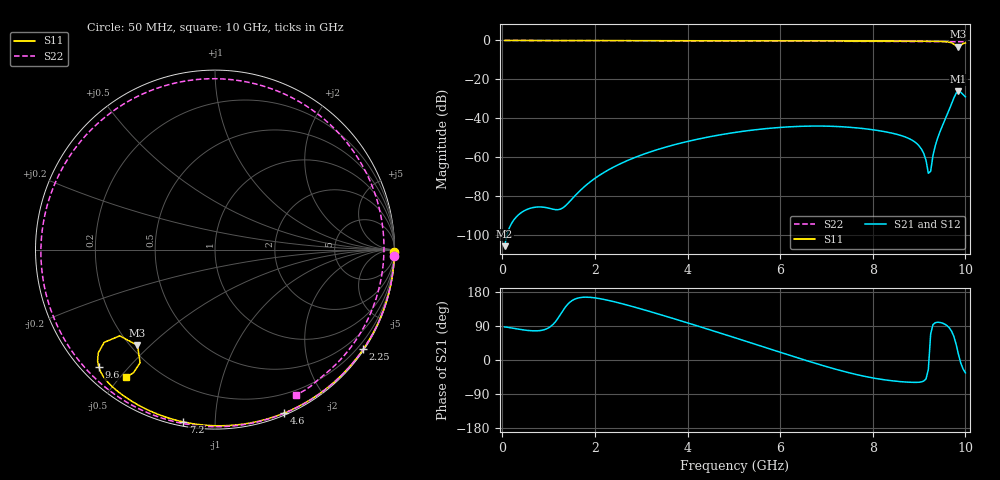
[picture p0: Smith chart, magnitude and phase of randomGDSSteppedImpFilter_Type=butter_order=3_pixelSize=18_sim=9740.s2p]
! freq	dB(S11)	phase(S11)	dB(S12)	phase(S12)
!  dB(S21)	phase(S21)	dB(S22)	phase(S22)
!S-par simulation data
#  GHz  S  DB  R 50
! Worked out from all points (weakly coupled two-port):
!   200 points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, 50 MHz to 10 GHz, reference 50 ohm
!   highest |S21| = -26.07 dB at 9.85 GHz (marker M1); lowest = -105.9 dB at 50 MHz (marker M2)
!   lowest |S11| = -3.3 dB at 9.85 GHz (marker M3), VSWR 5.37, Z = 11.3 - j22.8 ohm
!   |S11| at or under -10 dB: nowhere
!   |S22| runs from -0.7 to 0.0 dB; largest |S21 - S12| = 0
!   S11 on the Smith chart (normalised r, x): 50 MHz: open; 2.25 GHz: 0.03, -3.28; 4.6 GHz: 0.02, -1.51; 7.2 GHz: 0.02, -0.83; 9.6 GHz: 0.05, -0.42; 10 GHz: 0.09, -0.52
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0.05  -0.00 -0.8  -105.86 87.2  -105.86 87.2  -0.01 -1.9
1.55  -0.03 -23.5  -80.43 159.7  -80.43 159.7  -0.07 -57.9
1.75  -0.03 -26.5  -75.72 165.6  -75.72 165.6  -0.08 -65.3
2.25  -0.04 -33.9  -67.17 158.5  -67.17 158.5  -0.11 -83.4
3.4  -0.07 -50.4  -55.80 120.3  -55.80 120.3  -0.16 -124.9
4.6  -0.10 -67.0  -49.01 75.2  -49.01 75.2  -0.24 -170.1
5.05  -0.11 -73.1  -47.25 57.7  -47.25 57.7  -0.28 171.6
5.85  -0.14 -83.5  -45.03 26.4  -45.03 26.4  -0.35 136.2
6.7  -0.18 -94.3  -44.05 -6.5  -44.05 -6.5  -0.42 94.4
7.2  -0.21 -100.5  -44.25 -24.4  -44.25 -24.4  -0.45 68.3
7.8  -0.25 -107.9  -45.35 -42.5  -45.35 -42.5  -0.48 36.9
8.35  -0.29 -114.7  -47.37 -53.9  -47.37 -53.9  -0.51 9.2
9  -0.36 -123.1  -54.25 -58.7  -54.25 -58.7  -0.57 -20.9
9.1  -0.38 -124.6  -58.12 -55.6  -58.12 -55.6  -0.58 -25.2
9.2  -0.40 -126.1  -68.36 -24.9  -68.36 -24.9  -0.59 -29.4
9.25  -0.41 -126.9  -67.29 68.5  -67.29 68.5  -0.60 -31.5
9.3  -0.42 -127.7  -59.21 93.4  -59.21 93.4  -0.60 -33.6
9.4  -0.46 -129.6  -50.29 99.6  -50.29 99.6  -0.62 -37.7
9.6  -0.71 -134.7  -38.48 91.0  -38.48 91.0  -0.65 -45.6
9.75  -1.88 -140.1  -29.66 62.6  -29.66 62.6  -0.68 -51.2
9.85  -3.27 -129.0  -26.07 15.0  -26.07 15.0  -0.64 -54.9
10  -1.24 -125.0  -29.03 -33.8  -29.03 -33.8  -0.66 -60.8
